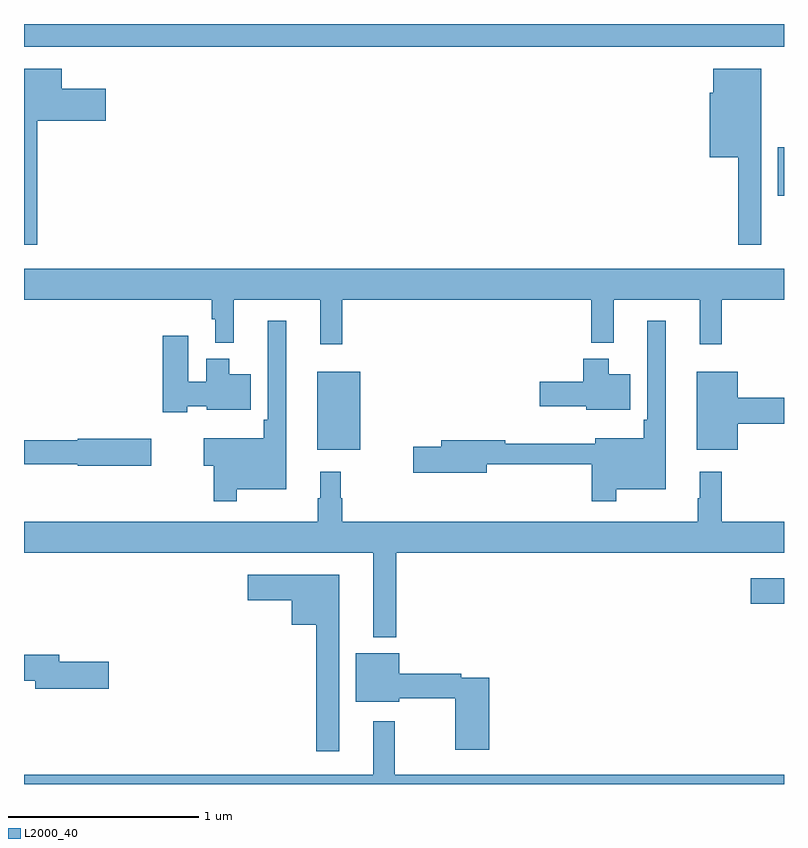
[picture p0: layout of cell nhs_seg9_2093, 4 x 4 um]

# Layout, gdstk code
import gdstk
lib = gdstk.Library(unit=1e-6, precision=1e-09)
def R(c, l, rs):  # rectangles x0, y0, x1, y1
    for r in rs: c.add(gdstk.rectangle(r[:2], r[2:], *l))
def P(c, l, *ps):  # polygons
    for p in ps: c.add(gdstk.Polygon(p, *l))
L2000_40 = (2000, 40)

nhs_seg9_2093 = lib.new_cell('nhs_seg9_2093')
R(nhs_seg9_2093, L2000_40, [(232.824,1233.449,233,1233.583), (230.543,1234.259,230.77,1234.669), (232.967,1235.597,233,1235.851), (229,1236.38,233,1236.5)])
P(nhs_seg9_2093, L2000_40, [(229.069,1235.99),(229.429,1235.99),(229.429,1236.16),(229.198,1236.16),(229.198,1236.265),(229,1236.265),(229,1235.337),(229.069,1235.337)],
  [(232.879,1236.265),(232.628,1236.265),(232.628,1236.138),(232.61,1236.138),(232.61,1235.798),(232.758,1235.798),(232.758,1235.337),(232.879,1235.337)],
  [(230.675,1235.048),(231.985,1235.048),(231.985,1234.823),(232.103,1234.823),(232.103,1235.048),(232.556,1235.048),(232.556,1234.815),(232.673,1234.815),(232.673,1235.048),(233,1235.048),(233,1235.212),(229,1235.212),(229,1235.048),(229.987,1235.048),(229.987,1234.945),(230.006,1234.945),(230.006,1234.823),(230.105,1234.823),(230.105,1235.048),(230.558,1235.048),(230.558,1234.815),(230.675,1234.815)],
  [(232.117,1234.052),(232.378,1234.052),(232.378,1234.939),(232.281,1234.939),(232.281,1234.417),(232.261,1234.417),(232.261,1234.321),(232.007,1234.321),(232.007,1234.292),(231.532,1234.292),(231.532,1234.31),(231.197,1234.31),(231.197,1234.274),(231.048,1234.274),(231.048,1234.139),(231.436,1234.139),(231.436,1234.182),(231.988,1234.182),(231.988,1233.987),(232.117,1233.987)],
  [(230.119,1234.052),(230.38,1234.052),(230.38,1234.939),(230.283,1234.939),(230.283,1234.417),(230.263,1234.417),(230.263,1234.321),(229.946,1234.321),(229.946,1234.174),(229.998,1234.174),(229.998,1233.987),(230.119,1233.987)],
  [(229.86,1234.487),(229.962,1234.487),(229.962,1234.469),(230.194,1234.469),(230.194,1234.657),(230.08,1234.657),(230.08,1234.738),(229.958,1234.738),(229.958,1234.617),(229.864,1234.617),(229.864,1234.858),(229.73,1234.858),(229.73,1234.457),(229.86,1234.457)],
  [(232.192,1234.657),(232.078,1234.657),(232.078,1234.738),(231.944,1234.738),(231.944,1234.617),(231.714,1234.617),(231.714,1234.487),(231.96,1234.487),(231.96,1234.469),(232.192,1234.469)],
  [(232.756,1234.396),(233,1234.396),(233,1234.532),(232.756,1234.532),(232.756,1234.669),(232.541,1234.669),(232.541,1234.259),(232.756,1234.259)],
  [(229.669,1234.316),(229.284,1234.316),(229.284,1234.31),(229,1234.31),(229,1234.182),(229.284,1234.182),(229.284,1234.174),(229.669,1234.174)],
  [(230.959,1233.716),(233,1233.716),(233,1233.88),(232.673,1233.88),(232.673,1234.144),(232.556,1234.144),(232.556,1234.004),(232.545,1234.004),(232.545,1233.88),(230.675,1233.88),(230.675,1234.004),(230.668,1234.004),(230.668,1234.144),(230.558,1234.144),(230.558,1234.004),(230.547,1234.004),(230.547,1233.88),(229,1233.88),(229,1233.716),(230.837,1233.716),(230.837,1233.272),(230.959,1233.272)],
  [(230.659,1233.601),(230.178,1233.601),(230.178,1233.467),(230.408,1233.467),(230.408,1233.338),(230.538,1233.338),(230.538,1232.673),(230.659,1232.673)],
  [(231.449,1233.06),(231.302,1233.06),(231.302,1233.08),(230.974,1233.08),(230.974,1233.187),(230.747,1233.187),(230.747,1232.933),(230.974,1232.933),(230.974,1232.952),(231.271,1232.952),(231.271,1232.679),(231.449,1232.679)],
  [(229.447,1233.143),(229.186,1233.143),(229.186,1233.179),(229,1233.179),(229,1233.043),(229.058,1233.043),(229.058,1233.001),(229.447,1233.001)],
  [(233,1232.548),(230.951,1232.548),(230.951,1232.83),(230.837,1232.83),(230.837,1232.548),(229,1232.548),(229,1232.5),(233,1232.5)])

lib.write_gds('nhs_seg9_2093.gds')
